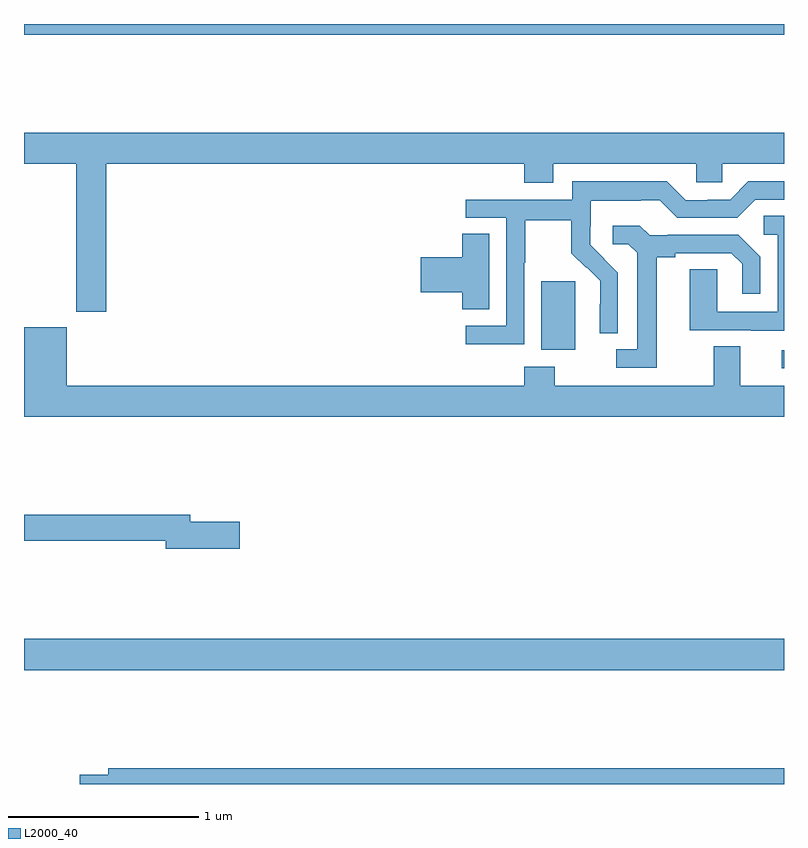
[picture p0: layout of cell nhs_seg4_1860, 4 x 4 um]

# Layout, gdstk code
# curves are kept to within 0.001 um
import gdstk
lib = gdstk.Library(unit=1e-6, precision=1e-09)
def R(c, l, rs):  # rectangles x0, y0, x1, y1
    for r in rs: c.add(gdstk.rectangle(r[:2], r[2:], *l))
def P(c, l, *ps):  # polygons
    for p in ps: c.add(gdstk.Polygon(p, *l))
L2000_40 = (2000, 40)

nhs_seg4_1860 = lib.new_cell('nhs_seg4_1860')
R(nhs_seg4_1860, L2000_40, [(207,783.5,211,783.664), (210.987,785.088,211,785.184), (209.723,785.186,209.902,785.547), (207,786.844,211,786.9)])
P(nhs_seg4_1860, L2000_40, [(207.434,786.164),(209.633,786.164),(209.633,786.065),(209.785,786.065),(209.785,786.164),(210.537,786.164),(210.537,786.066),(210.675,786.066),(210.675,786.164),(211,786.164),(211,786.328),(207,786.328),(207,786.164),(207.274,786.164),(207.274,785.385),(207.434,785.385)],
  [(209.634,785.644),(209.637,785.644),(209.637,785.868),(209.881,785.868),(209.881,785.693),(209.958,785.616),(209.961,785.619),(210.032,785.549),(210.032,785.426),(210.03,785.426),(210.03,785.272),(210.126,785.272),(210.126,785.59),(209.98,785.738),(209.98,785.835),(209.982,785.835),(209.982,785.969),(210.245,785.969),(210.245,785.973),(210.345,785.973),(210.438,785.88),(210.753,785.88),(210.849,785.976),(211,785.976),(211,786.072),(210.813,786.072),(210.717,785.976),(210.599,785.976),(210.599,785.973),(210.483,785.973),(210.383,786.073),(209.886,786.073),(209.886,785.976),(209.325,785.976),(209.325,785.88),(209.538,785.88),(209.538,785.313),(209.325,785.313),(209.325,785.215),(209.634,785.215)],
  [(211,785.891),(210.894,785.891),(210.894,785.79),(210.966,785.79),(210.966,785.385),(210.648,785.385),(210.648,785.609),(210.503,785.609),(210.503,785.289),(210.827,785.289),(210.827,785.285),(211,785.285)],
  [(210.331,785.672),(210.427,785.672),(210.427,785.694),(210.722,785.694),(210.779,785.637),(210.779,785.481),(210.876,785.481),(210.876,785.674),(210.76,785.79),(210.388,785.79),(210.388,785.787),(210.294,785.787),(210.242,785.839),(210.099,785.839),(210.099,785.742),(210.18,785.742),(210.227,785.695),(210.227,785.187),(210.117,785.187),(210.117,785.091),(210.331,785.091)],
  [(209.449,785.795),(209.306,785.795),(209.306,785.672),(209.088,785.672),(209.088,785.489),(209.306,785.489),(209.306,785.398),(209.449,785.398)],
  [(211,784.996),(210.769,784.996),(210.769,785.204),(210.629,785.204),(210.629,784.996),(209.793,784.996),(209.793,785.095),(209.633,785.095),(209.633,784.996),(207.226,784.996),(207.226,785.305),(207,785.305),(207,784.832),(211,784.832)],
  [(208.135,784.28),(207.874,784.28),(207.874,784.316),(207,784.316),(207,784.18),(207.746,784.18),(207.746,784.138),(208.135,784.138)],
  [(211,782.984),(207.443,782.984),(207.443,782.948),(207.294,782.948),(207.294,782.9),(211,782.9)])

lib.write_gds('nhs_seg4_1860.gds')
